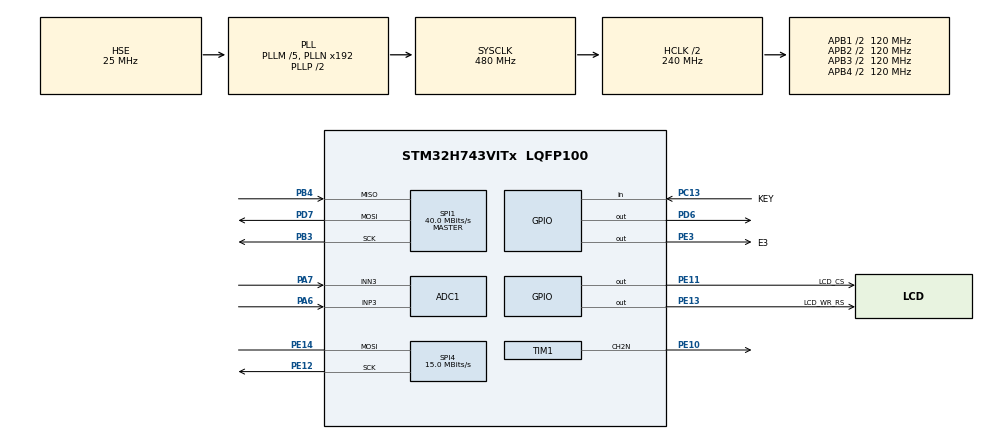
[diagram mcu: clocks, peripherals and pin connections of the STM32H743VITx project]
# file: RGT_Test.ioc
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ADC1.Channel-0\#ChannelRegularConversion=ADC_CHANNEL_3
ADC1.NbrOfConversionFlag=1
ADC1.OffsetNumber-0\#ChannelRegularConversion=ADC_OFFSET_NONE
ADC1.OffsetSignedSaturation-0\#ChannelRegularConversion=DISABLE
ADC1.Rank-0\#ChannelRegularConversion=1
ADC1.SamplingTime-0\#ChannelRegularConversion=ADC_SAMPLETIME_1CYCLE_5
ADC1.SingleDiff-0\#ChannelRegularConversion=ADC_DIFFERENTIAL_ENDED
ADC1.master=1
Mcu.Family=STM32H7
Mcu.Name=STM32H743VITx
Mcu.Package=LQFP100
NVIC.PriorityGroup=NVIC_PRIORITYGROUP_4
PA13\ (JTMS/SWDIO).Mode=Serial_Wire
PA13\ (JTMS/SWDIO).Signal=DEBUG_JTMS-SWDIO
PA14\ (JTCK/SWCLK).Mode=Serial_Wire
PA14\ (JTCK/SWCLK).Signal=DEBUG_JTCK-SWCLK
PA6.Signal=ADCx_INP3
PA7.Signal=ADCx_INN3
PB3\ (JTDO/TRACESWO).Mode=Full_Duplex_Master
PB3\ (JTDO/TRACESWO).Signal=SPI1_SCK
PB4\ (NJTRST).Mode=Full_Duplex_Master
PB4\ (NJTRST).Signal=SPI1_MISO
PB8.GPIO_FM8=__NULL
PB8.GPIO_Speed=GPIO_SPEED_FREQ_VERY_HIGH
PB8.Signal=FDCAN1_RX
PB9.GPIO_FM9=__NULL
PB9.GPIO_Speed=GPIO_SPEED_FREQ_VERY_HIGH
PB9.Signal=FDCAN1_TX
PC13.GPIO_Label=KEY
PC13.GPIO_PuPd=GPIO_PULLDOWN
PC13.Signal=GPIO_Input
PC14-OSC32_IN\ (OSC32_IN).Mode=LSE-External-Oscillator
PC14-OSC32_IN\ (OSC32_IN).Signal=RCC_OSC32_IN
PC15-OSC32_OUT\ (OSC32_OUT).Mode=LSE-External-Oscillator
PC15-OSC32_OUT\ (OSC32_OUT).Signal=RCC_OSC32_OUT
PD6.Signal=GPIO_Output
PD7.Mode=Full_Duplex_Master
PD7.Signal=SPI1_MOSI
PE10.Mode=PWM Generation2 CH2N
PE10.Signal=TIM1_CH2N
PE11.GPIO_Label=LCD_CS
PE11.GPIO_Speed=GPIO_SPEED_FREQ_VERY_HIGH
PE11.PinState=GPIO_PIN_SET
PE11.Signal=GPIO_Output
PE12.GPIO_Speed=GPIO_SPEED_FREQ_HIGH
PE12.Mode=Simplex_Bidirectional_Master
PE12.Signal=SPI4_SCK
PE13.GPIO_Label=LCD_WR_RS
PE13.GPIO_Speed=GPIO_SPEED_FREQ_VERY_HIGH
PE13.PinState=GPIO_PIN_SET
PE13.Signal=GPIO_Output
PE14.GPIO_Speed=GPIO_SPEED_FREQ_HIGH
PE14.Mode=Simplex_Bidirectional_Master
PE14.Signal=SPI4_MOSI
PE3.GPIO_Label=E3
PE3.PinState=GPIO_PIN_RESET
PE3.Signal=GPIO_Output
PH0-OSC_IN\ (PH0).Mode=HSE-External-Oscillator
PH0-OSC_IN\ (PH0).Signal=RCC_OSC_IN
PH1-OSC_OUT\ (PH1).Mode=HSE-External-Oscillator
PH1-OSC_OUT\ (PH1).Signal=RCC_OSC_OUT
ProjectManager.HeapSize=0x200
ProjectManager.StackSize=0x400
ProjectManager.TargetToolchain=STM32CubeIDE
RCC.ADCFreq_Value=83333333.33333333
RCC.APB1Freq_Value=120000000
RCC.APB2Freq_Value=120000000
RCC.APB3Freq_Value=120000000
RCC.APB4Freq_Value=120000000
RCC.CortexFreq_Value=480000000
RCC.D1PPRE=RCC_APB3_DIV2
RCC.D2PPRE1=RCC_APB1_DIV2
RCC.D2PPRE2=RCC_APB2_DIV2
RCC.D3PPRE=RCC_APB4_DIV2
RCC.DIVM1=5
RCC.DIVM2=6
RCC.DIVN1=192
RCC.DIVN2=40
RCC.DIVQ1=12
RCC.DIVQ2=1
RCC.HCLKFreq_Value=240000000
RCC.HPRE=RCC_HCLK_DIV2
RCC.HSE_VALUE=25000000
RCC.PLL2FRACN=0
RCC.PLL3FRACN=0
RCC.PLLFRACN=0
RCC.PLLSourceVirtual=RCC_PLLSOURCE_HSE
RCC.PWR_Regulator_Voltage_Scale=PWR_REGULATOR_VOLTAGE_SCALE0
RCC.SYSCLKFreq_VALUE=480000000
RCC.SYSCLKSource=RCC_SYSCLKSOURCE_PLLCLK
RCC.USBFreq_Value=80000000
RTC.Hours=12
RTC.Month=RTC_MONTH_JUNE
RTC.Year=20
SH.ADCx_INN3.0=ADC1_INN3,IN3-Differential
SH.ADCx_INP3.0=ADC1_INP3,IN3-Differential
SPI1.CalculateBaudRate=40.0 MBits/s
SPI1.Direction=SPI_DIRECTION_2LINES
SPI1.Mode=SPI_MODE_MASTER
SPI1.VirtualType=VM_MASTER
SPI4.BaudRatePrescaler=SPI_BAUDRATEPRESCALER_8
SPI4.CalculateBaudRate=15.0 MBits/s
SPI4.DataSize=SPI_DATASIZE_8BIT
SPI4.Direction=SPI_DIRECTION_1LINE
SPI4.Mode=SPI_MODE_MASTER
SPI4.VirtualType=VM_MASTER
TIM1.Channel-PWM\ Generation2\ CH2N=TIM_CHANNEL_2
TIM1.OCNPolarity_2=TIM_OCNPOLARITY_LOW
TIM1.Period=1000-1
TIM1.Prescaler=12-1
VP_MEMORYMAP_VS_MEMORYMAP.Mode=CurAppReg
VP_RTC_VS_RTC_Activate.Mode=RTC_Enabled
VP_RTC_VS_RTC_Calendar.Mode=RTC_Calendar
board=custom

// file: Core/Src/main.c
/* USER CODE BEGIN Header */
/**
  ******************************************************************************
  * @file           : main.c
  * @brief          : Main program body
  ******************************************************************************
  * @attention
  *
  * <h2><center>&copy; Copyright (c) 2020 STMicroelectronics.
  * All rights reserved.</center></h2>
  *
  * This software component is licensed by ST under BSD 3-Clause license,
  * the "License"; You may not use this file except in compliance with the
  * License. You may obtain a copy of the License at:
  *                        opensource.org/licenses/BSD-3-Clause
  *
  ******************************************************************************
  */
/* USER CODE END Header */
#include "main.h"
#include "adc.h"
#include "memorymap.h"
#include "rtc.h"
#include "spi.h"
#include "tim.h"
#include "gpio.h"

/* USER CODE BEGIN Includes */
#include <stdbool.h>
#include "lcd.h"
#include "w25qxx.h"
/* USER CODE END Includes */

/* USER CODE BEGIN PM */

/* Enable TRC */

#ifdef __GNUC__
/* GCC: __io_putchar() is called by printf() */
int __io_putchar(int ch)
#else
/* Keil: fputc() is called by printf() */
int fputc(int ch, FILE *f)
#endif
{
    /* Wait until ITM port 0 is ready */
    while ((ITM->TCR & ITM_TCR_ITMENA_Msk) == 0) { }
    /* Send character */
    ITM_SendChar(ch);
    return ch;
}

/* USER CODE END PM */

void SystemClock_Config(void);

/* USER CODE BEGIN 0 */

static void MPU_Config(void)
{
  MPU_Region_InitTypeDef MPU_InitStruct = {0};

  /* Disables the MPU */
  HAL_MPU_Disable();

	/* Configure the MPU attributes for the QSPI 256MB without instruction access */
  MPU_InitStruct.Enable           = MPU_REGION_ENABLE;
  MPU_InitStruct.Number           = MPU_REGION_NUMBER0;
  MPU_InitStruct.BaseAddress      = QSPI_BASE;
  MPU_InitStruct.Size             = MPU_REGION_SIZE_256MB;
  MPU_InitStruct.AccessPermission = MPU_REGION_NO_ACCESS;
  MPU_InitStruct.IsBufferable     = MPU_ACCESS_NOT_BUFFERABLE;
  MPU_InitStruct.IsCacheable      = MPU_ACCESS_NOT_CACHEABLE;
  MPU_InitStruct.IsShareable      = MPU_ACCESS_NOT_SHAREABLE;
  MPU_InitStruct.DisableExec      = MPU_INSTRUCTION_ACCESS_DISABLE;
  MPU_InitStruct.TypeExtField     = MPU_TEX_LEVEL1;
  MPU_InitStruct.SubRegionDisable = 0x00;
  HAL_MPU_ConfigRegion(&MPU_InitStruct);

  /* Configure the MPU attributes for the QSPI 8MB (QSPI Flash Size) to Cacheable WT */
  MPU_InitStruct.Enable           = MPU_REGION_ENABLE;
  MPU_InitStruct.Number           = MPU_REGION_NUMBER1;
  MPU_InitStruct.BaseAddress      = QSPI_BASE;
  MPU_InitStruct.Size             = MPU_REGION_SIZE_8MB;
  MPU_InitStruct.AccessPermission = MPU_REGION_PRIV_RO;
  MPU_InitStruct.IsBufferable     = MPU_ACCESS_BUFFERABLE;
  MPU_InitStruct.IsCacheable      = MPU_ACCESS_CACHEABLE;
  MPU_InitStruct.IsShareable      = MPU_ACCESS_NOT_SHAREABLE;
  MPU_InitStruct.DisableExec      = MPU_INSTRUCTION_ACCESS_ENABLE;
  MPU_InitStruct.TypeExtField     = MPU_TEX_LEVEL1;
  MPU_InitStruct.SubRegionDisable = 0x00;
  HAL_MPU_ConfigRegion(&MPU_InitStruct);

  /* Enables the MPU */
  HAL_MPU_Enable(MPU_PRIVILEGED_DEFAULT);
}

static void CPU_CACHE_Enable(void)
{
  /* Enable I-Cache */
  SCB_EnableICache();

  /* Enable D-Cache */
  SCB_EnableDCache();
}

static void LED_Blink(uint32_t Hdelay,uint32_t Ldelay)
{
	HAL_GPIO_WritePin(E3_GPIO_Port,E3_Pin,GPIO_PIN_SET);
	HAL_Delay(Hdelay - 1);
	HAL_GPIO_WritePin(E3_GPIO_Port,E3_Pin,GPIO_PIN_RESET);
	HAL_Delay(Ldelay-1);
}

/**
  * @brief  Get the current time and date.
  * @param
  * @retval None
  */
static void RTC_CalendarShow(RTC_DateTypeDef *sdatestructureget,RTC_TimeTypeDef *stimestructureget)
{
  /* ����ͬʱ��ȡʱ������� ��Ȼ�ᵼ���´�RTC���ܶ�ȡ */
  /* Both time and date must be obtained or RTC cannot be read next time */
  /* Get the RTC current Time */
  HAL_RTC_GetTime(&hrtc, stimestructureget, RTC_FORMAT_BIN);
  /* Get the RTC current Date */
  HAL_RTC_GetDate(&hrtc, sdatestructureget, RTC_FORMAT_BIN);
}

/* USER CODE END 0 */

int main(void)
{

  /* USER CODE BEGIN 1 */
#ifdef W25Qxx
  SCB->VTOR = QSPI_BASE;
#endif
  MPU_Config();
  CPU_CACHE_Enable();
  /* USER CODE END 1 */

  /* MCU Configuration--------------------------------------------------------*/

  /* Reset of all peripherals, Initializes the Flash interface and the Systick. */
  HAL_Init();

  /* Configure the system clock */
  SystemClock_Config();

  /* Initialize all configured peripherals */
  MX_GPIO_Init();
  MX_RTC_Init();
  MX_SPI4_Init();
  MX_TIM1_Init();
  MX_ADC1_Init();
  MX_SPI1_Init();
  /* USER CODE BEGIN 2 */
  LCD_Test();
  //LCD 3rd Line fill-in blank
    LCD_ShowString(4, 40, ST7735Ctx.Width, 16, 16, "                                         ");
    char msg[32];

    //SPI Flash Init
    if (W25Qx_Init() != W25Qx_OK) {
        LCD_ShowString(0, 58, ST7735Ctx.Width, 16, 16, (uint8_t*)"Init Fail");
        Error_Handler();
    }

    //SPI Flash ID check
    uint16_t id;
    W25Qx_Read_ID(&id);
    sprintf(msg, "ID: %04X", id);
    LCD_ShowString(0, 58, ST7735Ctx.Width, 16, 16, (uint8_t*)msg);
    HAL_Delay(1000);

    //SPI Flash Erase
    if (W25Qx_Erase_Block(0) != W25Qx_OK) {
        LCD_ShowString(0, 58, ST7735Ctx.Width, 16, 16, (uint8_t*)"Erase Fail");
        Error_Handler();
    }

    //SPI Flash Write
    uint8_t writeBuffer[] = "Hello Flash!";
    if (W25Qx_Write(writeBuffer, 0, sizeof(writeBuffer)) != W25Qx_OK) {
        LCD_ShowString(0, 58, ST7735Ctx.Width, 16, 16, (uint8_t*)"Write Fail");
        Error_Handler();
    }

    //SPI Flash Read
    uint8_t readBuffer[32] = {0};
    if (W25Qx_Read(readBuffer, 0, sizeof(writeBuffer)) != W25Qx_OK) {
        LCD_ShowString(0, 58, ST7735Ctx.Width, 16, 16, (uint8_t*)"Read Fail");
        Error_Handler();
    }

    // Display read data from SPI Flash on 4th Row of LCD
    LCD_ShowString(0, 58, ST7735Ctx.Width, 16, 16, readBuffer);

  /* USER CODE END 2 */

  /* Infinite loop */
  /* USER CODE BEGIN WHILE */
  while (1)
  {
	  HAL_ADC_Start(&hadc1);
	  HAL_ADC_PollForConversion(&hadc1, HAL_MAX_DELAY);
	  int16_t raw = (int16_t)HAL_ADC_GetValue(&hadc1);
	  HAL_ADC_Stop(&hadc1);

	  /* 2) full-scale ±Vref = ±3.3V maps to ±32768 */
	   const float Vref = 3.3f;
	   float voltage = ((float)raw) * Vref / 32768.0f;

	   /* 3) round to nearest millivolt */
	   int32_t mV = (int32_t)(voltage * 1000.0f + (raw >= 0 ? 0.5f : -0.5f));

	   /* 4) split sign, integer and frac */
	   bool    neg    = (mV < 0);
	   int32_t abs_mV = neg ? -mV : mV;
	   int32_t v_int  = abs_mV / 1000;
	   int32_t v_frac = abs_mV % 1000;

	   /* 5) one-shot print with at most one ‘–’ */
	   char buf[32];
	   snprintf(buf, sizeof(buf),  " %ld.%03ld V", v_int, v_frac);

	   /* 6) show it on the LCD */
	   LCD_ShowString(4, 40, ST7735Ctx.Width, 16, 16, (uint8_t*)buf);
    /* USER CODE END WHILE */

    /* USER CODE BEGIN 3 */
  }

    /* USER CODE BEGIN 3 */

  /* USER CODE END 3 */
}

void SystemClock_Config(void)
{
  RCC_OscInitTypeDef RCC_OscInitStruct = {0};
  RCC_ClkInitTypeDef RCC_ClkInitStruct = {0};

  /** Supply configuration update enable
  */
  HAL_PWREx_ConfigSupply(PWR_LDO_SUPPLY);

  /** Configure the main internal regulator output voltage
  */
  __HAL_PWR_VOLTAGESCALING_CONFIG(PWR_REGULATOR_VOLTAGE_SCALE0);

  while(!__HAL_PWR_GET_FLAG(PWR_FLAG_VOSRDY)) {}

  /** Initializes the RCC Oscillators according to the specified parameters
  * in the RCC_OscInitTypeDef structure.
  */
  RCC_OscInitStruct.OscillatorType = RCC_OSCILLATORTYPE_LSI|RCC_OSCILLATORTYPE_HSE;
  RCC_OscInitStruct.HSEState = RCC_HSE_ON;
  RCC_OscInitStruct.LSIState = RCC_LSI_ON;
  RCC_OscInitStruct.PLL.PLLState = RCC_PLL_ON;
  RCC_OscInitStruct.PLL.PLLSource = RCC_PLLSOURCE_HSE;
  RCC_OscInitStruct.PLL.PLLM = 5;
  RCC_OscInitStruct.PLL.PLLN = 192;
  RCC_OscInitStruct.PLL.PLLP = 2;
  RCC_OscInitStruct.PLL.PLLQ = 12;
  RCC_OscInitStruct.PLL.PLLR = 2;
  RCC_OscInitStruct.PLL.PLLRGE = RCC_PLL1VCIRANGE_2;
  RCC_OscInitStruct.PLL.PLLVCOSEL = RCC_PLL1VCOWIDE;
  RCC_OscInitStruct.PLL.PLLFRACN = 0;
  if (HAL_RCC_OscConfig(&RCC_OscInitStruct) != HAL_OK)
  {
    Error_Handler();
  }

  /** Initializes the CPU, AHB and APB buses clocks
  */
  RCC_ClkInitStruct.ClockType = RCC_CLOCKTYPE_HCLK|RCC_CLOCKTYPE_SYSCLK
                              |RCC_CLOCKTYPE_PCLK1|RCC_CLOCKTYPE_PCLK2
                              |RCC_CLOCKTYPE_D3PCLK1|RCC_CLOCKTYPE_D1PCLK1;
  RCC_ClkInitStruct.SYSCLKSource = RCC_SYSCLKSOURCE_PLLCLK;
  RCC_ClkInitStruct.SYSCLKDivider = RCC_SYSCLK_DIV1;
  RCC_ClkInitStruct.AHBCLKDivider = RCC_HCLK_DIV2;
  RCC_ClkInitStruct.APB3CLKDivider = RCC_APB3_DIV2;
  RCC_ClkInitStruct.APB1CLKDivider = RCC_APB1_DIV2;
  RCC_ClkInitStruct.APB2CLKDivider = RCC_APB2_DIV2;
  RCC_ClkInitStruct.APB4CLKDivider = RCC_APB4_DIV2;

  if (HAL_RCC_ClockConfig(&RCC_ClkInitStruct, FLASH_LATENCY_4) != HAL_OK)
  {
    Error_Handler();
  }
}

/* USER CODE BEGIN 4 */
typedef struct {
    float voltage_V;    // battery voltage in volts
    float current_mA;   // battery current in milliamps
} BatteryStatus_t;

BatteryStatus_t Read_BatteryVoltageCurrent(void)
{
    BatteryStatus_t st;
    const float Vref = 3.3f;   // ADC reference = Vdd

    // --- start conversion of both ranks ---
    HAL_ADC_Start(&hadc1);

    // 1) Battery voltage (rank 1)
    HAL_ADC_PollForConversion(&hadc1, HAL_MAX_DELAY);
    int16_t rawV = HAL_ADC_GetValue(&hadc1);

    // 2) Shunt voltage (rank 2)
    HAL_ADC_PollForConversion(&hadc1, HAL_MAX_DELAY);
    int16_t rawI = HAL_ADC_GetValue(&hadc1);

    HAL_ADC_Stop(&hadc1);

    // differential full-scale = ±Vref
    st.voltage_V  = ((float)rawV / 32768.0f) * Vref;
    float v_shunt = ((float)rawI / 32768.0f) * Vref;

    // compute current = Vshunt / Rshunt  (Rshunt in ohms)
    const float Rshunt = 0.1f;
    st.current_mA = (v_shunt / Rshunt) * 1000.0f;

    return st;
}
/* USER CODE END 4 */

void Error_Handler(void)
{
  /* USER CODE BEGIN Error_Handler_Debug */
  /* User can add his own implementation to report the HAL error return state */
  LED_Blink(30,30);
  LED_Blink(30,30);
  LED_Blink(30,30);

  /* USER CODE END Error_Handler_Debug */
}
